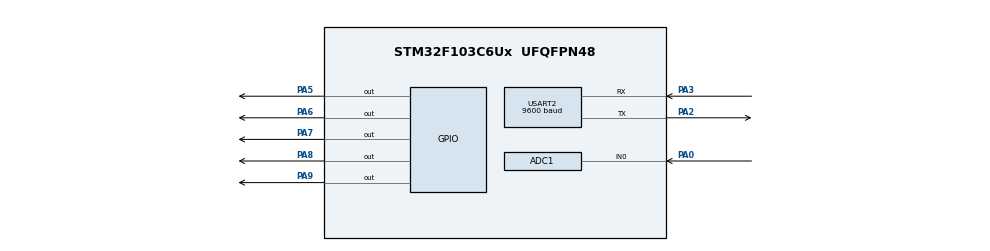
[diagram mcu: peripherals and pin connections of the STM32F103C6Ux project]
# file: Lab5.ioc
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ADC1.Channel-0\#ChannelRegularConversion=ADC_CHANNEL_0
ADC1.NbrOfConversionFlag=1
ADC1.Rank-0\#ChannelRegularConversion=1
ADC1.SamplingTime-0\#ChannelRegularConversion=ADC_SAMPLETIME_1CYCLE_5
ADC1.master=1
Mcu.Family=STM32F1
Mcu.Name=STM32F103C6Ux
Mcu.Package=UFQFPN48
NVIC.PriorityGroup=NVIC_PRIORITYGROUP_4
NVIC.TIM2_IRQn=true\:0\:0\:false\:false\:true\:true\:true\:true
NVIC.USART2_IRQn=true\:0\:0\:false\:false\:true\:true\:true\:true
PA0-WKUP.Signal=ADCx_IN0
PA2.Mode=Asynchronous
PA2.Signal=USART2_TX
PA3.Mode=Asynchronous
PA3.Signal=USART2_RX
PA5.Signal=GPIO_Output
PA6.Signal=GPIO_Output
PA7.Signal=GPIO_Output
PA8.Signal=GPIO_Output
PA9.Signal=GPIO_Output
ProjectManager.HeapSize=0x200
ProjectManager.StackSize=0x400
ProjectManager.TargetToolchain=STM32CubeIDE
RCC.APB1Freq_Value=8000000
RCC.APB2Freq_Value=8000000
SH.ADCx_IN0.0=ADC1_IN0,IN0
TIM2.Period=9
TIM2.Prescaler=7999
USART2.BaudRate=9600
USART2.VirtualMode=VM_ASYNC
VP_TIM2_VS_ClockSourceINT.Mode=Internal
board=custom

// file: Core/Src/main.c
/* USER CODE BEGIN Header */
/**
  ******************************************************************************
  * @file           : main.c
  * @brief          : Main program body
  ******************************************************************************
  * @attention
  *
  * <h2><center>&copy; Copyright (c) 2021 STMicroelectronics.
  * All rights reserved.</center></h2>
  *
  * This software component is licensed by ST under BSD 3-Clause license,
  * the "License"; You may not use this file except in compliance with the
  * License. You may obtain a copy of the License at:
  *                        opensource.org/licenses/BSD-3-Clause
  *
  ******************************************************************************
  */
/* USER CODE END Header */
#include "main.h"

/* USER CODE BEGIN Includes */
#include "scheduler.h"
#include "FSM.h"
#include "timer.h"
/* USER CODE END Includes */

ADC_HandleTypeDef hadc1;

TIM_HandleTypeDef htim2;

UART_HandleTypeDef huart2;

/* USER CODE BEGIN PV */
extern int timer0_flag;

extern uint8_t temp;

uint8_t buffer_flag;
/* USER CODE END PV */

void SystemClock_Config(void);
static void MX_GPIO_Init(void);
static void MX_TIM2_Init(void);
static void MX_USART2_UART_Init(void);
static void MX_ADC1_Init(void);
/* USER CODE BEGIN PFP */
void BlinkLed0();
void BlinkLed1();
void BlinkLed2();
void BlinkLed3();
void BlinkLed4();
void print();
/* USER CODE END PFP */

/* USER CODE BEGIN 0 */
void HAL_UART_RxCpltCallback(UART_HandleTypeDef *huart){
	if(huart->Instance == USART2){
		HAL_UART_Receive_IT(&huart2, &temp, 1);
		buffer_flag = 1;
	}
}

/* USER CODE END 0 */

int main(void)
{

  /* MCU Configuration--------------------------------------------------------*/

  /* Reset of all peripherals, Initializes the Flash interface and the Systick. */
  HAL_Init();

  /* USER CODE BEGIN Init */
  SCH_INIT();
  /* USER CODE END Init */

  /* Configure the system clock */
  SystemClock_Config();

  /* Initialize all configured peripherals */
  MX_GPIO_Init();
  MX_TIM2_Init();
  MX_USART2_UART_Init();
  MX_ADC1_Init();
  /* USER CODE BEGIN 2 */
  SCH_INIT();
  HAL_TIM_Base_Start_IT(&htim2);
  HAL_Delay(500);
  SCH_Add_Task(BlinkLed0, 10, 50);
  SCH_Add_Task(BlinkLed1, 10, 100);
  SCH_Add_Task(BlinkLed2, 10, 150);
  SCH_Add_Task(BlinkLed3, 10, 200);
  SCH_Add_Task(BlinkLed4, 10, 250);
  SCH_Add_Task(proc_fsm , 10, 50);
  SCH_Add_Task(print, 10, 10);
  /* USER CODE END 2 */

  /* Infinite loop */
  while (1)
  {
	  SCH_Dispatch_Task();
  }
}

void SystemClock_Config(void)
{
  RCC_OscInitTypeDef RCC_OscInitStruct = {0};
  RCC_ClkInitTypeDef RCC_ClkInitStruct = {0};
  RCC_PeriphCLKInitTypeDef PeriphClkInit = {0};

  /** Initializes the RCC Oscillators according to the specified parameters
  * in the RCC_OscInitTypeDef structure.
  */
  RCC_OscInitStruct.OscillatorType = RCC_OSCILLATORTYPE_HSI;
  RCC_OscInitStruct.HSIState = RCC_HSI_ON;
  RCC_OscInitStruct.HSICalibrationValue = RCC_HSICALIBRATION_DEFAULT;
  RCC_OscInitStruct.PLL.PLLState = RCC_PLL_NONE;
  if (HAL_RCC_OscConfig(&RCC_OscInitStruct) != HAL_OK)
  {
    Error_Handler();
  }

  /** Initializes the CPU, AHB and APB buses clocks
  */
  RCC_ClkInitStruct.ClockType = RCC_CLOCKTYPE_HCLK|RCC_CLOCKTYPE_SYSCLK
                              |RCC_CLOCKTYPE_PCLK1|RCC_CLOCKTYPE_PCLK2;
  RCC_ClkInitStruct.SYSCLKSource = RCC_SYSCLKSOURCE_HSI;
  RCC_ClkInitStruct.AHBCLKDivider = RCC_SYSCLK_DIV1;
  RCC_ClkInitStruct.APB1CLKDivider = RCC_HCLK_DIV1;
  RCC_ClkInitStruct.APB2CLKDivider = RCC_HCLK_DIV1;

  if (HAL_RCC_ClockConfig(&RCC_ClkInitStruct, FLASH_LATENCY_0) != HAL_OK)
  {
    Error_Handler();
  }
  PeriphClkInit.PeriphClockSelection = RCC_PERIPHCLK_ADC;
  PeriphClkInit.AdcClockSelection = RCC_ADCPCLK2_DIV2;
  if (HAL_RCCEx_PeriphCLKConfig(&PeriphClkInit) != HAL_OK)
  {
    Error_Handler();
  }
}

static void MX_ADC1_Init(void)
{

  ADC_ChannelConfTypeDef sConfig = {0};

  /** Common config
  */
  hadc1.Instance = ADC1;
  hadc1.Init.ScanConvMode = ADC_SCAN_DISABLE;
  hadc1.Init.ContinuousConvMode = DISABLE;
  hadc1.Init.DiscontinuousConvMode = DISABLE;
  hadc1.Init.ExternalTrigConv = ADC_SOFTWARE_START;
  hadc1.Init.DataAlign = ADC_DATAALIGN_RIGHT;
  hadc1.Init.NbrOfConversion = 1;
  if (HAL_ADC_Init(&hadc1) != HAL_OK)
  {
    Error_Handler();
  }

  /** Configure Regular Channel
  */
  sConfig.Channel = ADC_CHANNEL_0;
  sConfig.Rank = ADC_REGULAR_RANK_1;
  sConfig.SamplingTime = ADC_SAMPLETIME_1CYCLE_5;
  if (HAL_ADC_ConfigChannel(&hadc1, &sConfig) != HAL_OK)
  {
    Error_Handler();
  }

}

static void MX_TIM2_Init(void)
{

  TIM_ClockConfigTypeDef sClockSourceConfig = {0};
  TIM_MasterConfigTypeDef sMasterConfig = {0};

  htim2.Instance = TIM2;
  htim2.Init.Prescaler = 7999;
  htim2.Init.CounterMode = TIM_COUNTERMODE_UP;
  htim2.Init.Period = 9;
  htim2.Init.ClockDivision = TIM_CLOCKDIVISION_DIV1;
  htim2.Init.AutoReloadPreload = TIM_AUTORELOAD_PRELOAD_DISABLE;
  if (HAL_TIM_Base_Init(&htim2) != HAL_OK)
  {
    Error_Handler();
  }
  sClockSourceConfig.ClockSource = TIM_CLOCKSOURCE_INTERNAL;
  if (HAL_TIM_ConfigClockSource(&htim2, &sClockSourceConfig) != HAL_OK)
  {
    Error_Handler();
  }
  sMasterConfig.MasterOutputTrigger = TIM_TRGO_RESET;
  sMasterConfig.MasterSlaveMode = TIM_MASTERSLAVEMODE_DISABLE;
  if (HAL_TIMEx_MasterConfigSynchronization(&htim2, &sMasterConfig) != HAL_OK)
  {
    Error_Handler();
  }

}

static void MX_USART2_UART_Init(void)
{

  huart2.Instance = USART2;
  huart2.Init.BaudRate = 9600;
  huart2.Init.WordLength = UART_WORDLENGTH_8B;
  huart2.Init.StopBits = UART_STOPBITS_1;
  huart2.Init.Parity = UART_PARITY_NONE;
  huart2.Init.Mode = UART_MODE_TX_RX;
  huart2.Init.HwFlowCtl = UART_HWCONTROL_NONE;
  huart2.Init.OverSampling = UART_OVERSAMPLING_16;
  if (HAL_UART_Init(&huart2) != HAL_OK)
  {
    Error_Handler();
  }

}

static void MX_GPIO_Init(void)
{
  GPIO_InitTypeDef GPIO_InitStruct = {0};

  /* GPIO Ports Clock Enable */
  __HAL_RCC_GPIOA_CLK_ENABLE();

  /*Configure GPIO pin Output Level */
  HAL_GPIO_WritePin(GPIOA, GPIO_PIN_5|GPIO_PIN_6|GPIO_PIN_7|GPIO_PIN_8
                          |GPIO_PIN_9, GPIO_PIN_RESET);

  /*Configure GPIO pins : PA5 PA6 PA7 PA8
                           PA9 */
  GPIO_InitStruct.Pin = GPIO_PIN_5|GPIO_PIN_6|GPIO_PIN_7|GPIO_PIN_8
                          |GPIO_PIN_9;
  GPIO_InitStruct.Mode = GPIO_MODE_OUTPUT_PP;
  GPIO_InitStruct.Pull = GPIO_NOPULL;
  GPIO_InitStruct.Speed = GPIO_SPEED_FREQ_LOW;
  HAL_GPIO_Init(GPIOA, &GPIO_InitStruct);

}

/* USER CODE BEGIN 4 */
void BlinkLed0()
{
	HAL_GPIO_TogglePin(GPIOA, GPIO_PIN_5);
}

void BlinkLed1()
{
	HAL_GPIO_TogglePin(GPIOA, GPIO_PIN_6);
}

void BlinkLed2()
{
	HAL_GPIO_TogglePin(GPIOA, GPIO_PIN_7);
}

void BlinkLed3()
{
	HAL_GPIO_TogglePin(GPIOA, GPIO_PIN_8);
}

void BlinkLed4()
{
	HAL_GPIO_TogglePin(GPIOA, GPIO_PIN_9);
}

void HAL_TIM_PeriodElapsedCallback ( TIM_HandleTypeDef * htim )
{
	SCH_Update_Task();
}
void print(){
	HAL_UART_Receive_IT(&huart2, &temp, 1);
	HAL_UART_Transmit(&huart2, (uint8_t*)"Welcome !!! \r", sizeof("Welcome !!! \r"), 1000);
}
/* USER CODE END 4 */

void Error_Handler(void)
{
  __disable_irq();
  while (1)
  {
  }
}
